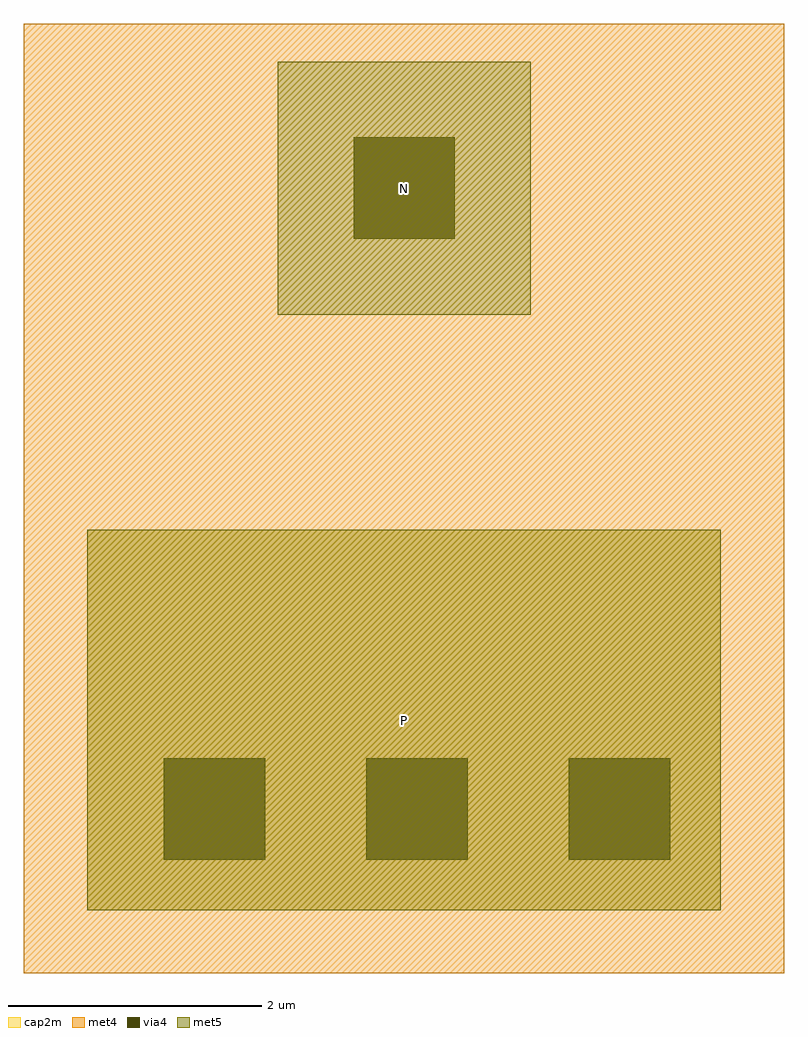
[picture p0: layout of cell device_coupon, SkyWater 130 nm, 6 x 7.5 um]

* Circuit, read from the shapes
.subckt device_coupon N P
XC1 P N sky130_fd_pr__cap_mim_m3_2 w=5.005 l=3.005
.ends

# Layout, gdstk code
import gdstk
lib = gdstk.Library(unit=1e-6, precision=1e-09)
def R(c, l, rs):  # rectangles x0, y0, x1, y1
    for r in rs: c.add(gdstk.rectangle(r[:2], r[2:], *l))
def A(c, l, x, y, w, h, nx, ny, dx, dy):  # array of equal rectangles
    R(c, l, [(x+i*dx, y+j*dy, x+i*dx+w, y+j*dy+h) for i in range(nx) for j in range(ny)])
met4 = (71, 20)
via4 = (71, 44)
met5 = (72, 20)
cap2m = (97, 44)

device_coupon = lib.new_cell('device_coupon')
R(device_coupon, met4, [(-5.505,-0.5,0.5,7.005)])
A(device_coupon, via4, -4.4, 0.4, 0.8, 0.8, 3, 1, 1.6, 0)
R(device_coupon, via4, [(-2.9,5.305,-2.1,6.105)])
R(device_coupon, met5, [(-5.005,0,0,3.005), (-3.5,4.705,-1.5,6.705)])
R(device_coupon, cap2m, [(-5.005,0,0,3.005)])
device_coupon.add(gdstk.Label('N', (-2.5,5.705), layer=72, texttype=5))
device_coupon.add(gdstk.Label('P', (-2.5,1.5), layer=72, texttype=5))

lib.write_gds('device_coupon.gds')
